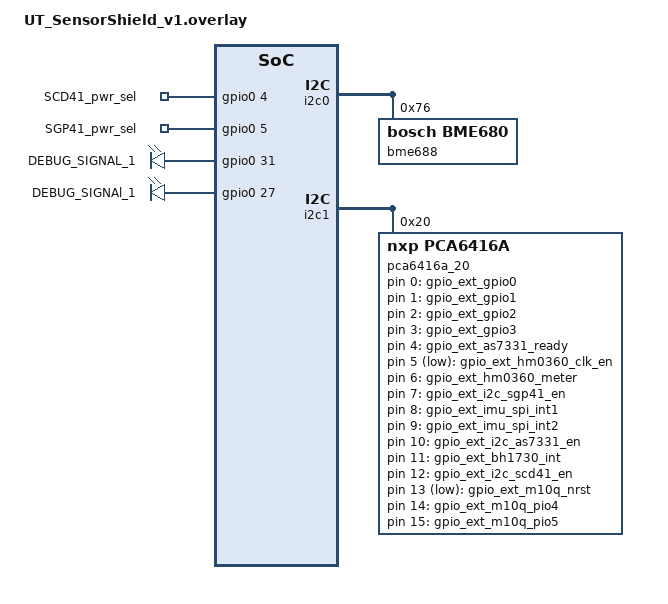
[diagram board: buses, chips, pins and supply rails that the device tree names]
// Copyright (c) 2025 ETH Zurich and University of Bologna
// SPDX-License-Identifier: Apache-2.0

 / {
    gpio_external {
        compatible = "gpio-keys";
        gpio_ext_gpio0: pca6416a_20p0 {
            gpios = <&pca6416a_20 0 GPIO_ACTIVE_HIGH>;
        };
        gpio_ext_gpio1: pca6416a_20p1 {
            gpios = <&pca6416a_20 1 GPIO_ACTIVE_HIGH>;
        };
        gpio_ext_gpio2: pca6416a_20p2 {
            gpios = <&pca6416a_20 2 GPIO_ACTIVE_HIGH>;
        };
        gpio_ext_gpio3: pca6416a_20p3 {
            gpios = <&pca6416a_20 3 GPIO_ACTIVE_HIGH>;
        };
        gpio_ext_as7331_ready: pca6416a_20p4 {
            gpios = <&pca6416a_20 4 GPIO_ACTIVE_HIGH>;
        };
        gpio_ext_hm0360_clk_en: pca6416a_20p5 {
            gpios = <&pca6416a_20 5 GPIO_ACTIVE_LOW>;
        };
        gpio_ext_hm0360_meter: pca6416a_20p6 {
            gpios = <&pca6416a_20 6 GPIO_ACTIVE_HIGH>;
        };
        gpio_ext_i2c_sgp41_en: pca6416a_20p7 {
            gpios = <&pca6416a_20 7 GPIO_ACTIVE_HIGH>;
        };
        gpio_ext_imu_spi_int1: pca6416a_20p8 {
            gpios = <&pca6416a_20 8 GPIO_ACTIVE_HIGH>;
        };
        gpio_ext_imu_spi_int2: pca6416a_20p9 {
            gpios = <&pca6416a_20 9 GPIO_ACTIVE_HIGH>;
        };
        gpio_ext_i2c_as7331_en: pca6416a_20p10 {
            gpios = <&pca6416a_20 10 GPIO_ACTIVE_HIGH>;
        };
        gpio_ext_bh1730_int: pca6416a_20p11 {
            gpios = <&pca6416a_20 11 GPIO_ACTIVE_HIGH>;
        };
        gpio_ext_i2c_scd41_en: pca6416a_20p12 {
            gpios = <&pca6416a_20 12 GPIO_ACTIVE_HIGH>;
        };
        gpio_ext_m10q_nrst: pca6416a_20p13 {
            gpios = <&pca6416a_20 13 GPIO_ACTIVE_LOW>;
        };
        gpio_ext_m10q_pio4: pca6416a_20p14 {
            gpios = <&pca6416a_20 14 GPIO_ACTIVE_HIGH>;
        };
        gpio_ext_m10q_pio5: pca6416a_20p15 {
            gpios = <&pca6416a_20 15 GPIO_ACTIVE_HIGH>;
        };
    };

	sensei_pwr: sensei_pwr {
		compatible = "gpio-leds";
		gpio_scd41_pwr: gpio_scd41_pwr {
			gpios = <&gpio0 4 GPIO_ACTIVE_HIGH>;
			label = "SCD41_pwr_sel";
		};
		gpio_sgp41_pwr: gpio_sgp41_pwr {
			gpios = <&gpio0 5 GPIO_ACTIVE_HIGH>;
			label = "SGP41_pwr_sel";
		};

        gpio_debug_signal_1: gpio_debug_signal_1 {
            gpios = <&gpio0 31 GPIO_ACTIVE_HIGH>;
            label = "DEBUG_SIGNAL_1";
        };
        gpio_debug_signal_2: gpio_debug_signal_2 {
            gpios = <&gpio0 27 GPIO_ACTIVE_HIGH>;
            label = "DEBUG_SIGNAl_1";
        };
	};
};

&i2c0 {
	status = "okay";
	bme688@76 {
		compatible = "bosch,bme680";
		reg = <0x76>;
		status = "okay";
	};
};

&i2c1 {
	status = "okay";
    pca6416a_20: pca6416a@20 {
        compatible = "nxp,pca6416a";
        reg = < 0x20 >;
        gpio-controller;
        ngpios = < 16 >;
        #gpio-cells = < 2 >;
    };

    // Use our custom driver
    // ism330dhcx: ism330dhcx@6a {
	// 	compatible = "st,ism330dhcx";
	// 	status = "okay";
	// 	reg = <0x6A>;
	// };
};

/ {
    cfg-device-gnss-0 {
        compatible = "u-blox,ubxlib-device-gnss";
        status = "okay";
        transport-type = "i2c1";
        i2c-clock-hertz = <1000>;
        i2c-already-open;
        i2c-address = <0x42>;
        i2c-max-segment-size = <256>;
        module-type = "U_GNSS_MODULE_TYPE_M10";
        power-off-to-backup;
    };
};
